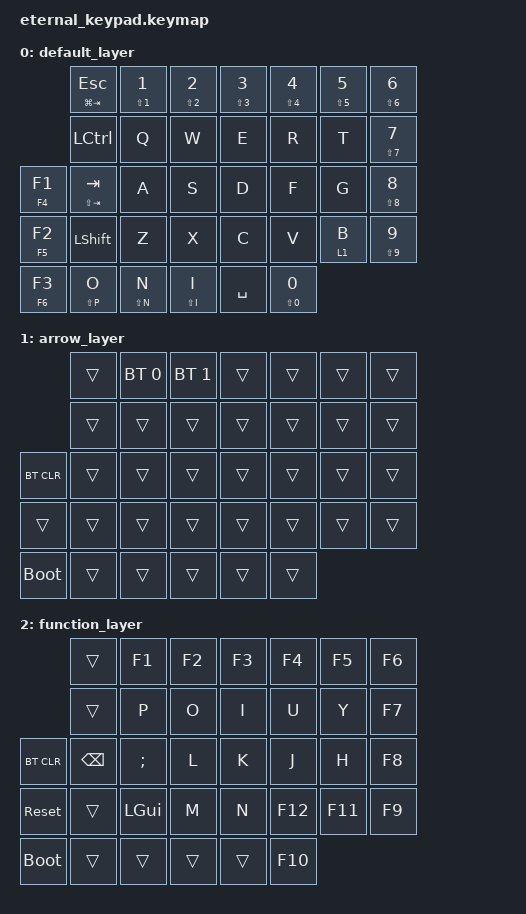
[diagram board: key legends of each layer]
/*
 * Copyright (c) 2022 The ZMK Contributors
 *
 * SPDX-License-Identifier: MIT
 */

#include <behaviors.dtsi>
#include <dt-bindings/zmk/keys.h>
#include <dt-bindings/zmk/bt.h>
#include <dt-bindings/zmk/outputs.h>
#include <dt-bindings/zmk/rgb.h>

#define BASE        0
#define ARROW       1
#define FUNC        2

/ {
  chosen {
      zmk,kscan = &kscan0;
      zmk,matrix-transform = &default_transform;
  };
  behaviors {

        td: tapdance {
            compatible = "zmk,behavior-hold-tap";
            label = "TAPDANCE";
            #binding-cells = <2>;
            tapping-term-ms = <200>;
            quick_tap_ms = <0>;
            flavor = "tap-preferred";
            bindings = <&kp>, <&kp>;
        };
   };

  keymap {
    compatible = "zmk,keymap";

    default_layer {
      bindings = <
                          &td LG(TAB) ESC   &td LS(N1) N1     &td LS(N2) N2   &td LS(N3) N3    &td LS(N4) N4   &td LS(N5) N5  &td LS(N6) N6
                          &kp LCTRL         &kp Q             &kp W           &kp E            &kp R           &kp T          &td LS(N7) N7
        &td F4 F1         &td LS(TAB) TAB   &kp A             &kp S           &kp D            &kp F           &kp G          &td LS(N8) N8
        &td F5 F2         &kp LSHFT         &kp Z             &kp X           &kp C            &kp V           &lt 1 B        &td LS(N9) N9
        &td F6 F3         &td LS(P) O       &td LS(N) N       &td LS(I) I     &kp SPACE        &td LS(N0) N0
      >;
    };

    arrow_layer {
      bindings = <
                    &trans       &bt BT_SEL 0 &bt BT_SEL 1 &trans     &trans    &trans    &trans
                    &trans       &trans       &trans       &trans    &trans    &trans   &trans
        &bt BT_CLR  &trans       &trans       &trans       &trans    &trans    &trans   &trans
        &trans      &trans       &trans       &trans       &trans    &trans    &trans   &trans      
        &bootloader &trans       &trans       &trans       &trans    &trans
      >;
    };

    function_layer {
      bindings = <
                    &trans    &kp F1    &kp F2   &kp F3    &kp F4   &kp F5   &kp F6
                    &trans    &kp P     &kp O    &kp I     &kp U    &kp Y    &kp F7
        &bt BT_CLR  &kp BSPC  &kp SEMI  &kp L    &kp K     &kp J    &kp H    &kp F8
        &sys_reset      &trans    &kp LGUI  &kp M    &kp N     &kp F12  &kp F11  &kp F9
        &bootloader &trans    &trans    &trans             &trans            &kp F10
      >;
    };
  };
};
